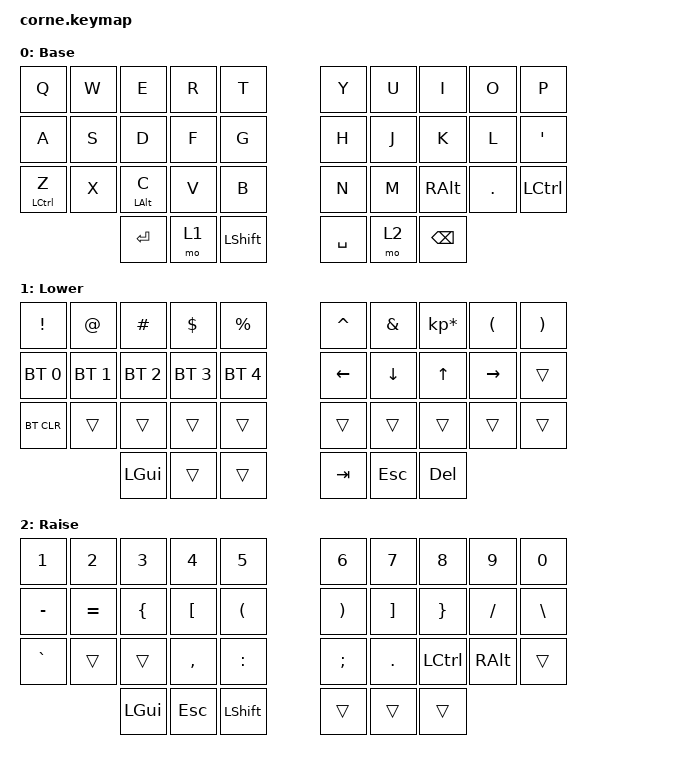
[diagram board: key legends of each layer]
/*
 * Copyright (c) 2020 The ZMK Contributors
 *
 * SPDX-License-Identifier: MIT
 */

#include <behaviors.dtsi>
#include <dt-bindings/zmk/keys.h>
#include <dt-bindings/zmk/bt.h>


/ {
    chosen {
      zmk,physical-layout = &foostan_corne_5col_layout;
    };

    behaviors {
        mt_rpi: require_prior_idle {
            compatible = "zmk,behavior-hold-tap";
            #binding-cells = <2>;
            flavor = "tap-preferred";
            tapping-term-ms = <200>;
            require-prior-idle-ms = <125>;
            bindings = <&kp>, <&kp>;
            };
        };

    macros {
        control_alt_delete: control_alt_delete {
            compatible = "zmk,behavior-macro";
            #binding-cells = <0>;
            bindings
                = <&macro_press &kp LCTL &kp LALT &kp DEL>
                , <&macro_pause_for_release>
                , <&macro_release &kp LCTL &kp LALT &kp DEL>
                ;
        };
        screenshot: screenshot {
            compatible = "zmk,behavior-macro";
            #binding-cells = <0>;
            bindings
                = <&macro_press &kp LGUI &kp LSHIFT>
                , <&macro_tap &kp S>
                , <&macro_release &kp LGUI &kp LSHIFT>
                ;
        };
	lock: lock {
	    compatible = "zmk,behavior-macro";
	    #binding-cells = <0>;
	    bindings
	        = <&macro_press &kp LGUI>
		, <&macro_tap &kp L>
		, <&macro_release &kp LGUI>
		;
	};
    };

    combos {
        compatible = "zmk,combos";
        combo_login {
            timeout-ms = <50>;
            key-positions = <16 25>;
            bindings = <&control_alt_delete>;
        };
        combo_screenshot {
            timeout-ms = <50>;
            key-positions = <13 24>;
            bindings = <&screenshot>;
        };
	combo_lock {
	    timeout-ms = <50>;
	    key-positions = <6 15>;
	    bindings = <&lock>;
	};
    };
        keymap {
                compatible = "zmk,keymap";

                default_layer {
// -----------------------------------------------------------------------------------------
// |  Q  |  W  |  E  |  R  |  T  |     |  Y  |  U   |  I   |  O   | P |
// |  A  |  S  |  D  |  F  |  G  |     |  H  |  J   |  K   |  L   | ' | 
// |  Z  |  X  |  C  |  V  |  B  |     |  N  |  M   | CTRL | META | . |
//             | GUI | LWR | SPC |     | ENT | RSE  | BSPC |
                        display-name = "Base";
                        bindings = <
    &kp Q       &kp W       &kp E      &kp R &kp T   &kp Y     &kp U  &kp I     &kp O     &kp P
    &kp A       &kp S       &kp D      &kp F &kp G   &kp H     &kp J  &kp K     &kp L     &kp SQT
&mt_rpi LCTRL Z &kp X   &mt_rpi LALT C &kp V &kp B   &kp N     &kp M  &kp RALT  &kp DOT   &kp LCTRL
                &kp RET &mo 1          &kp LSHIFT              &kp SPACE &mo 2  &kp BSPC
                        >;
                };

                lower_layer {
// -----------------------------------------------------------------------------------------
// | !     |  @  |  #  |  $  |  %  |     |  ^  |  &  |  *  |  (  |  )  |
// | BT1   | BT2 | BT3 | BT4 | BT5 |     | LFT | DWN |  UP | RGT |     |
// | BTCLR |     |     |     |     |     |     |     |     |     |     |
//               | GUI |     | SPC |     | ENT | ESC | TAB |
                        display-name = "Lower";
                        bindings = <
   &kp EXCL     &kp AT       &kp HASH     &kp DLLR     &kp PRCNT        &kp CARET &kp AMPS  &kp KP_MULTIPLY &kp LPAR  &kp RPAR
   &bt BT_SEL 0 &bt BT_SEL 1 &bt BT_SEL 2 &bt BT_SEL 3 &bt BT_SEL 4     &kp LEFT  &kp DOWN  &kp UP          &kp RIGHT &trans 
   &bt BT_CLR   &trans       &trans       &trans       &trans           &trans    &trans    &trans          &trans    &trans 
                             &kp LGUI     &trans       &trans           &kp TAB   &kp ESC   &kp DEL
                        >;
                };

                raise_layer {
// -----------------------------------------------------------------------------------------
// | 1! |  2@ |  3# |  4$ |  5% |     |  6^ |  7& |  8* |  9(  |  0)  |
// | -_ |  =+ |  {  |  [  |  (  |     |  )  |  ]  |  }  |  /?  |  \|  |
// | `~ |     |     |  ,< |  :  |     |  ;  |  .> | CTRL| META |      |
//            | GUI | ESC | SPC |     | ENT |     | TAB |
                        display-name = "Raise";
                        bindings = <

   &kp N1    &kp N2    &kp N3    &kp N4    &kp N5        &kp N6    &kp N7    &kp N8    &kp N9   &kp N0
   &kp MINUS &kp EQUAL &kp LBRC  &kp LBKT  &kp LPAR      &kp RPAR  &kp RBKT  &kp RBRC  &kp FSLH &kp BSLH
   &kp GRAVE &trans    &trans    &kp COMMA &kp COLON     &kp SEMI  &kp DOT   &kp LCTRL &kp RALT &trans
                       &kp LGUI  &kp ESC   &kp LSHIFT    &trans    &trans    &trans
                        >;
                };
        };
};
